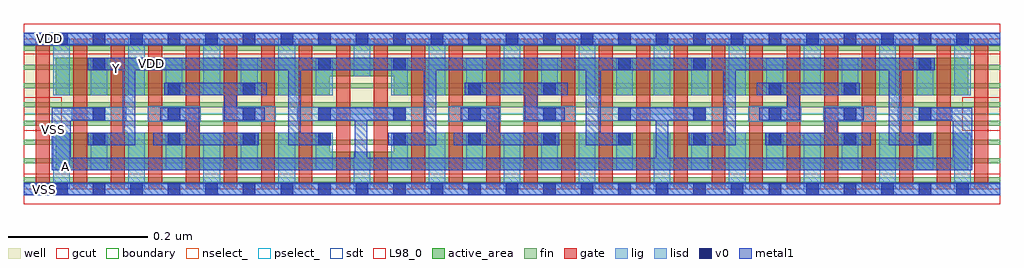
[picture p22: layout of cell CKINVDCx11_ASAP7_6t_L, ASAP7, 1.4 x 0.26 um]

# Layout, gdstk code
import gdstk
lib = gdstk.Library(unit=1e-6, precision=2.5e-10)
def R(c, l, rs):  # rectangles x0, y0, x1, y1
    for r in rs: c.add(gdstk.rectangle(r[:2], r[2:], *l))
def A(c, l, x, y, w, h, nx, ny, dx, dy):  # array of equal rectangles
    R(c, l, [(x+i*dx, y+j*dy, x+i*dx+w, y+j*dy+h) for i in range(nx) for j in range(ny)])
def P(c, l, *ps):  # polygons
    for p in ps: c.add(gdstk.Polygon(p, *l))
well = (1, 0)
fin = (2, 0)
gate = (7, 0)
gcut = (10, 0)
active_area = (11, 0)
nselect_ = (12, 0)
pselect_ = (13, 0)
lig = (16, 0)
lisd = (17, 0)
v0 = (18, 0)
metal1 = (19, 0)
sdt = (88, 0)
L98_0 = (98, 0)
boundary = (100, 0)

ckinvdcx11_asap7_6t_l = lib.new_cell('CKINVDCx11_ASAP7_6t_L')
R(ckinvdcx11_asap7_6t_l, well, [(0,0.108,1.404,0.216)])
A(ckinvdcx11_asap7_6t_l, fin, 0, 0.01, 1.404, 0.007, 1, 8, 0, 0.027)
A(ckinvdcx11_asap7_6t_l, gate, 0.017, 0, 0.02, 0.216, 26, 1, 0.054, 0)
R(ckinvdcx11_asap7_6t_l, gcut, [(0,-0.022,1.404,0.022), (0,0.084,0.054,0.132), (1.35,0.084,1.404,0.132), (0,0.194,1.404,0.238)])
P(ckinvdcx11_asap7_6t_l, active_area, [(1.358,0.027),(0.046,0.027),(0.046,0.081),(0.44,0.081),(0.44,0.054),(0.532,0.054),(0.532,0.081),(1.358,0.081)],
  [(1.358,0.189),(0.046,0.189),(0.046,0.135),(0.44,0.135),(0.44,0.162),(0.532,0.162),(0.532,0.135),(1.358,0.135)])
R(ckinvdcx11_asap7_6t_l, nselect_, [(0,0,1.404,0.108)])
R(ckinvdcx11_asap7_6t_l, pselect_, [(0,0.108,1.404,0.216)])
R(ckinvdcx11_asap7_6t_l, lig, [(0,-0.008,1.404,0.008), (0.178,0.097,0.254,0.119), (0.286,0.097,0.362,0.119), (0.61,0.097,0.686,0.119), (0.718,0.097,0.794,0.119), (1.042,0.097,1.118,0.119), (1.15,0.097,1.226,0.119), (0.069,0.098,0.147,0.118), (0.393,0.098,0.579,0.118), (0.825,0.098,1.011,0.118), (1.257,0.098,1.335,0.118), (0,0.208,1.404,0.224)])
A(ckinvdcx11_asap7_6t_l, lisd, 0.042, 0, 0.024, 0.081, 4, 2, 0.108, 0.135)
A(ckinvdcx11_asap7_6t_l, lisd, 0.582, 0, 0.024, 0.081, 8, 2, 0.108, 0.135)
A(ckinvdcx11_asap7_6t_l, lisd, 0.096, 0.027, 0.024, 0.054, 12, 2, 0.108, 0.108)
R(ckinvdcx11_asap7_6t_l, lisd, [(0.474,0,0.498,0.054), (0.474,0.162,0.498,0.216)])
A(ckinvdcx11_asap7_6t_l, v0, 0.045, -0.009, 0.018, 0.018, 25, 2, 0.054, 0.216)
A(ckinvdcx11_asap7_6t_l, v0, 0.099, 0.063, 0.018, 0.018, 12, 2, 0.108, 0.036)
R(ckinvdcx11_asap7_6t_l, v0, [(0.207,0.135,0.225,0.153), (0.315,0.135,0.333,0.153), (0.639,0.135,0.657,0.153), (0.747,0.135,0.765,0.153), (1.071,0.135,1.089,0.153), (1.179,0.135,1.197,0.153), (0.099,0.171,0.117,0.189), (0.423,0.171,0.441,0.189), (0.531,0.171,0.549,0.189), (0.855,0.171,0.873,0.189), (0.963,0.171,0.981,0.189), (1.287,0.171,1.305,0.189)])
R(ckinvdcx11_asap7_6t_l, metal1, [(0,-0.009,1.404,0.009), (0,0.207,1.404,0.225)])
P(ckinvdcx11_asap7_6t_l, metal1, [(1.364,0.117),(1.287,0.117),(1.287,0.099),(1.336,0.099),(1.336,0.045),(0.927,0.045),(0.927,0.099),(0.981,0.099),(0.981,0.117),(0.855,0.117),(0.855,0.099),(0.909,0.099),(0.909,0.045),(0.494,0.045),(0.494,0.099),(0.549,0.099),(0.549,0.117),(0.423,0.117),(0.423,0.099),(0.476,0.099),(0.476,0.045),(0.067,0.045),(0.067,0.099),(0.117,0.099),(0.117,0.117),(0.04,0.117),(0.04,0.027),(1.364,0.027)],
  [(1.305,0.081),(1.262,0.081),(1.262,0.171),(1.31,0.171),(1.31,0.189),(0.092,0.189),(0.092,0.171),(0.142,0.171),(0.142,0.081),(0.092,0.081),(0.092,0.063),(0.16,0.063),(0.16,0.171),(0.38,0.171),(0.38,0.063),(0.441,0.063),(0.441,0.081),(0.398,0.081),(0.398,0.171),(0.575,0.171),(0.575,0.081),(0.524,0.081),(0.524,0.063),(0.593,0.063),(0.593,0.171),(0.808,0.171),(0.808,0.063),(0.873,0.063),(0.873,0.081),(0.83,0.081),(0.83,0.171),(1.006,0.171),(1.006,0.081),(0.956,0.081),(0.956,0.063),(1.024,0.063),(1.024,0.171),(1.244,0.171),(1.244,0.063),(1.305,0.063)],
  [(1.218,0.081),(1.17,0.081),(1.17,0.099),(1.208,0.099),(1.208,0.117),(1.152,0.117),(1.152,0.081),(1.066,0.081),(1.066,0.063),(1.218,0.063)],
  [(1.202,0.153),(1.054,0.153),(1.054,0.135),(1.098,0.135),(1.098,0.117),(1.058,0.117),(1.058,0.099),(1.116,0.099),(1.116,0.135),(1.202,0.135)],
  [(0.782,0.153),(0.634,0.153),(0.634,0.135),(0.72,0.135),(0.72,0.099),(0.778,0.099),(0.778,0.117),(0.738,0.117),(0.738,0.135),(0.782,0.135)],
  [(0.77,0.081),(0.684,0.081),(0.684,0.117),(0.628,0.117),(0.628,0.099),(0.666,0.099),(0.666,0.081),(0.618,0.081),(0.618,0.063),(0.77,0.063)],
  [(0.349,0.153),(0.202,0.153),(0.202,0.135),(0.288,0.135),(0.288,0.099),(0.346,0.099),(0.346,0.117),(0.306,0.117),(0.306,0.135),(0.349,0.135)],
  [(0.338,0.081),(0.252,0.081),(0.252,0.117),(0.196,0.117),(0.196,0.099),(0.234,0.099),(0.234,0.081),(0.186,0.081),(0.186,0.063),(0.338,0.063)])
A(ckinvdcx11_asap7_6t_l, sdt, 0.042, 0.027, 0.024, 0.054, 8, 2, 0.054, 0.108)
A(ckinvdcx11_asap7_6t_l, sdt, 0.528, 0.027, 0.024, 0.054, 16, 2, 0.054, 0.108)
R(ckinvdcx11_asap7_6t_l, sdt, [(0.474,0.027,0.498,0.054), (0.474,0.162,0.498,0.189)])
R(ckinvdcx11_asap7_6t_l, L98_0, [(0,0,1.404,0.216)])
R(ckinvdcx11_asap7_6t_l, boundary, [(0,0,1.404,0.216)])
ckinvdcx11_asap7_6t_l.add(gdstk.Label('VDD', (0.184,0.18), layer=1, texttype=251))
ckinvdcx11_asap7_6t_l.add(gdstk.Label('VSS', (0.043,0.085), layer=3, texttype=251))
ckinvdcx11_asap7_6t_l.add(gdstk.Label('VSS', (0.029,0), layer=19, texttype=251))
ckinvdcx11_asap7_6t_l.add(gdstk.Label('VDD', (0.036,0.2165), layer=19, texttype=251))
ckinvdcx11_asap7_6t_l.add(gdstk.Label('Y', (0.133,0.174), layer=19, texttype=251))
ckinvdcx11_asap7_6t_l.add(gdstk.Label('A', (0.06,0.032), layer=19, texttype=251))

lib.write_gds('CKINVDCx11_ASAP7_6t_L.gds')
